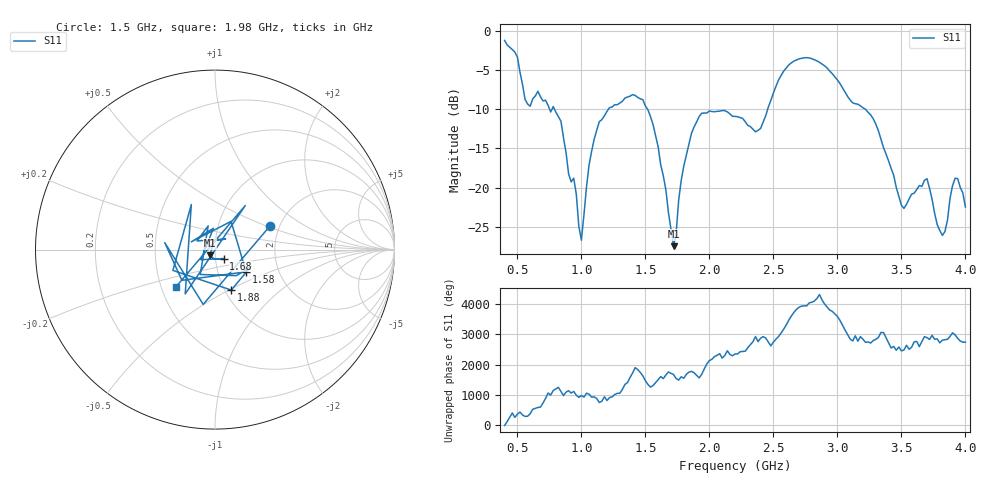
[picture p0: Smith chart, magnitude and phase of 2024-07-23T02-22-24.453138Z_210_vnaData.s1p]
!Created with skrf (http://scikit-rf.org).
# Hz S RI R 50.0
!freq ReS11 ImS11
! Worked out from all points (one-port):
!   181 points, 400 MHz to 4 GHz, reference 50 ohm
!   lowest |S11| = -27.5 dB at 1.72 GHz (marker M1), VSWR 1.09, Z = 47.3 - j3.1 ohm
!   |S11| at or under -10 dB: 789.1 MHz to 1.212 GHz (423.1 MHz wide, 42.3 % of centre); 1.516 GHz to 2.456 GHz (940 MHz wide, 47.3 % of centre); 3.216 GHz to end of sweep (the widest 3 of 4)
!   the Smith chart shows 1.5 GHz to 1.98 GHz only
!   S11 on the Smith chart (normalised r, x): 1.5 GHz: 1.78, +0.52; 1.58 GHz: 1.37, -0.35; 1.68 GHz: 1.10, -0.11; 1.88 GHz: 1.07, -0.51; 1.98 GHz: 0.60, -0.27
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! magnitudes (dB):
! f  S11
! 400 MHz  -1.3
! 500 MHz  -3.4
! 580 MHz  -9.4
! 660 MHz  -7.7
! 860 MHz  -13.6
! 940 MHz  -18.8
! 1 GHz  -26.7
! 1.1 GHz  -13.8
! 1.3 GHz  -9.2
! 1.5 GHz  -9.6
! 1.58 GHz  -13.4
! 1.68 GHz  -23.2
! 1.72 GHz  -27.5
! 1.76 GHz  -21.6
! 1.88 GHz  -12.3
! 1.98 GHz  -10.5
! 2.2 GHz  -10.9
! 2.4 GHz  -12.5
! 2.66 GHz  -3.9
! 2.88 GHz  -4.3
! 3.1 GHz  -8.9
! 3.28 GHz  -11.2
! 3.5 GHz  -22.2
! 3.56 GHz  -21.5
! 3.7 GHz  -18.9
! 3.82 GHz  -26.1
! 3.92 GHz  -18.8
! 4 GHz  -22.5
